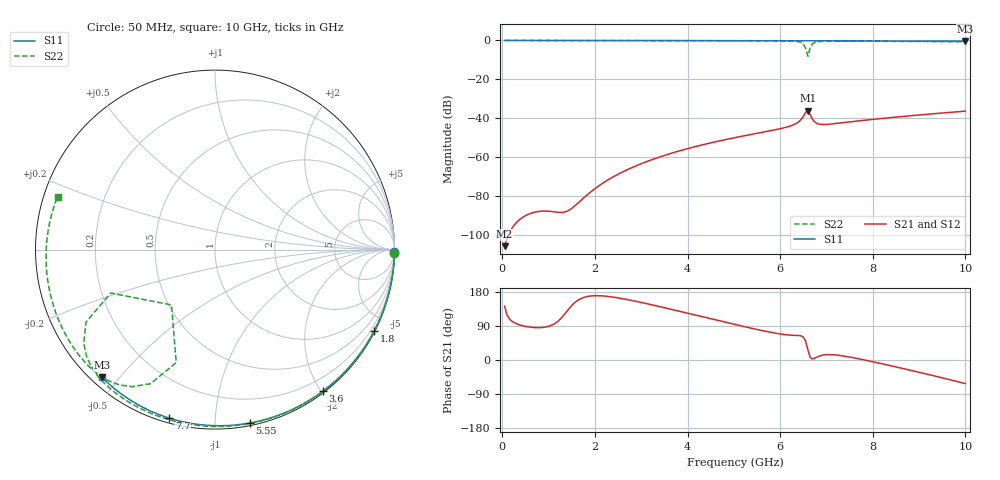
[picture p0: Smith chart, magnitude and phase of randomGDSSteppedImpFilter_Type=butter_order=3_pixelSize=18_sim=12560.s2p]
! freq	dB(S11)	phase(S11)	dB(S12)	phase(S12)
!  dB(S21)	phase(S21)	dB(S22)	phase(S22)
!S-par simulation data
#  GHz  S  DB  R 50
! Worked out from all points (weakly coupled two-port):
!   200 points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, 50 MHz to 10 GHz, reference 50 ohm
!   highest |S21| = -36.08 dB at 6.6 GHz (marker M1); lowest = -105.7 dB at 50 MHz (marker M2)
!   lowest |S11| = -0.4 dB at 10 GHz (marker M3), VSWR 39.11, Z = 1.54 - j22.5 ohm
!   |S11| at or under -10 dB: nowhere
!   |S22| runs from -8.1 to 0.0 dB; largest |S21 - S12| = 0
!   S11 on the Smith chart (normalised r, x): 50 MHz: open; 1.8 GHz: 0.04, -4.17; 3.6 GHz: 0.02, -2.02; 5.55 GHz: 0.02, -1.22; 7.7 GHz: 0.02, -0.77; 10 GHz: 0.03, -0.45
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0.05  -0.00 -0.8  -105.74 142.1  -105.74 142.1  -0.00 -1.1
0.85  -0.02 -12.9  -87.73 85.7  -87.73 85.7  -0.02 -19.0
1.75  -0.03 -26.2  -81.07 164.6  -81.07 164.6  -0.05 -38.6
1.8  -0.03 -27.0  -80.02 166.5  -80.02 166.5  -0.05 -39.7
2.5  -0.05 -37.2  -68.76 163.9  -68.76 163.9  -0.07 -54.5
3.4  -0.07 -49.9  -59.88 140.8  -59.88 140.8  -0.10 -73.0
3.6  -0.07 -52.7  -58.35 135.1  -58.35 135.1  -0.10 -77.0
5.05  -0.11 -72.3  -49.81 92.9  -49.81 92.9  -0.16 -105.6
5.55  -0.13 -78.7  -47.49 79.2  -47.49 79.2  -0.20 -115.6
6.2  -0.16 -87.0  -44.12 65.7  -44.12 65.7  -0.32 -131.1
6.45  -0.17 -90.1  -40.67 63.8  -40.67 63.8  -0.94 -144.5
6.5  -0.17 -90.7  -39.04 60.6  -39.04 60.6  -1.68 -150.7
6.55  -0.17 -91.3  -36.96 49.9  -36.96 49.9  -4.03 -157.4
6.6  -0.17 -91.9  -36.08 26.0  -36.08 26.0  -8.13 -128.2
6.65  -0.18 -92.5  -38.17 6.6  -38.17 6.6  -3.54 -108.9
6.7  -0.18 -93.1  -40.54 2.7  -40.54 2.7  -1.63 -115.7
6.8  -0.18 -94.3  -42.71 8.0  -42.71 8.0  -0.71 -125.0
6.95  -0.19 -96.2  -43.18 13.5  -43.18 13.5  -0.45 -132.2
7.7  -0.24 -105.1  -41.32 3.1  -41.32 3.1  -0.38 -150.3
8.35  -0.29 -112.7  -39.73 -14.1  -39.73 -14.1  -0.43 -163.4
9.2  -0.36 -122.5  -37.89 -38.2  -37.89 -38.2  -0.54 179.2
10  -0.44 -131.5  -36.34 -62.3  -36.34 -62.3  -0.67 161.4
